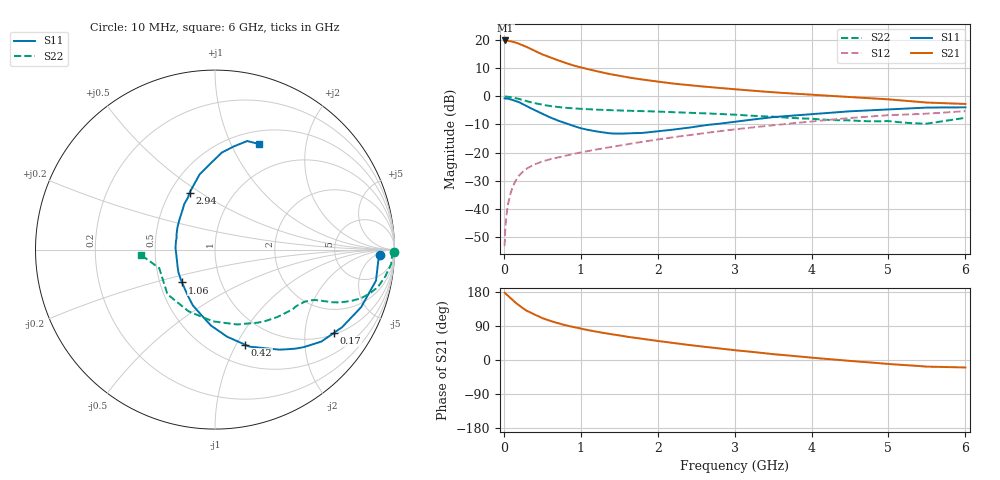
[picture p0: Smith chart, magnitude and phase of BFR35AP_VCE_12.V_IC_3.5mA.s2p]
! Infineon Technologies  Discrete & RF Semiconductors
! BFR35AP
! VCE =  12. V,  IC =  3.5 mA
! Common Emitter S-Parameters:  Nov 2015
# GHz  S  MA  R  50
!  f  S11  S21  S12  S22
! GHz  MAG  ANG  MAG  ANG  MAG  ANG  MAG  ANG
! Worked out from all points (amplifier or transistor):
!   210 points, 10 MHz to 6 GHz, reference 50 ohm
!   highest |S21| = 19.8 dB at 20 MHz (marker M1)
!   |S21| within 3 dB of that: start of sweep to 349.3 MHz
!   unconditionally stable (mu >= 1): 1.008 GHz to 3.082 GHz
!   at 185 MHz: K = 0.28, MSG = 23.7 dB, |S12| = -28.6 dB
!   at 1.52 GHz: K = 1.11, MAG = 10.3 dB, |S12| = -17.4 dB
!   at 6 GHz: K = 0.88, MSG = 1.3 dB, |S12| = -5.3 dB
!   S11 on the Smith chart (normalised r, x): 10 MHz: 20, -8; 170 MHz: 1.05, -2.82; 420 MHz: 0.71, -1.09; 1.06 GHz: 0.65, -0.26; 2.94 GHz: 0.63, +0.45; 6 GHz: 0.65, +1.28
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0.01  0.9195 -2.0  9.748 177.8  0.0022 84.5  0.9968 -0.8
0.02  0.9118 -4.1  9.768 175.6  0.0046 87.8  0.987 -1.9
0.05  0.9135 -10.9  9.626 170.3  0.0111 82.1  0.9847 -4.7
0.1  0.8751 -21.5  9.4 161.2  0.0217 78.0  0.9611 -8.9
0.15  0.8297 -31.4  9.004 151.5  0.0312 72.2  0.9307 -13.0
0.17  0.8087 -35.0  8.778 148.6  0.0346 70.4  0.9163 -14.1
0.24  0.7354 -47.6  8.091 137.8  0.045 64.8  0.8634 -18.0
0.3  0.664 -57.1  7.466 129.6  0.0524 61.8  0.8163 -20.4
0.42  0.5557 -72.4  6.215 118.2  0.0635 57.5  0.7466 -23.2
0.5  0.4906 -82.0  5.529 110.5  0.0699 55.8  0.7092 -24.4
0.6  0.4233 -93.1  4.905 103.2  0.0763 54.7  0.6717 -25.3
0.7  0.3732 -101.7  4.37 97.1  0.0821 54.9  0.6457 -26.0
0.82  0.3271 -113.2  3.828 90.8  0.0899 54.6  0.6224 -26.8
1.02  0.2673 -131.4  3.201 81.9  0.1024 55.0  0.5972 -28.4
1.06  0.2596 -135.1  3.106 80.3  0.1049 55.1  0.593 -28.7
1.4  0.2194 -165.5  2.443 68.0  0.1264 56.5  0.5667 -32.0
2.02  0.2417 150.3  1.808 49.7  0.1729 56.3  0.5344 -40.3
2.94  0.3453 114.2  1.355 27.3  0.2529 52.1  0.4763 -58.1
3.1  0.3672 110.2  1.299 24.0  0.268 50.7  0.4627 -62.1
4.1  0.4931 91.3  1.046 4.4  0.3681 41.0  0.3906 -95.6
5.1  0.5941 78.2  0.859 -11.8  0.4677 27.3  0.3513 -141.3
6  0.637 67.5  0.731 -19.7  0.5455 16.1  0.4158 -176.2
